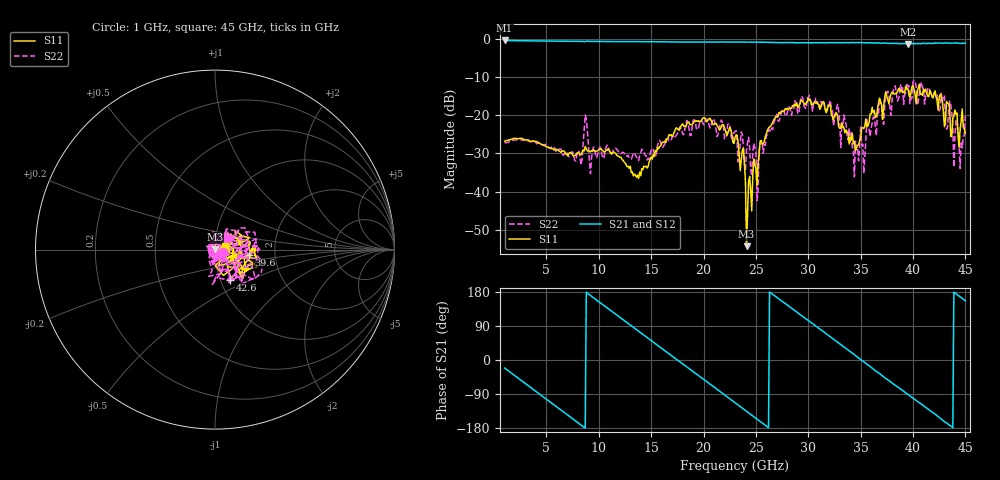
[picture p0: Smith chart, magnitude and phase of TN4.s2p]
!Keysight Technologies,N5247B,MY61255062,A.19.80.06
!Date: Monday, May 18, 2026 13:05:02
!Correction: S11(Cdelta 2-Port  )
!S21(Cdelta 2-Port  )
!S12(Cdelta 2-Port  )
!S22(Cdelta 2-Port  )
!S2P File: Measurements: S11, S21, S12, S22:
# Hz S  dB  R 50
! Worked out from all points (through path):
!   441 points, 1 GHz to 45 GHz, reference 50 ohm
!   highest |S21| = -0.41 dB at 1 GHz (marker M1); lowest = -1.3 dB at 39.5 GHz (marker M2)
!   group delay of S21, straight-line fit = 56.9 ps
!   lowest |S11| = -54.3 dB at 24.1 GHz (marker M3), VSWR 1.00, Z = 50 + j0.188 ohm
!   |S11| at or under -10 dB: start of sweep to end of sweep
!   |S22| runs from -42.4 to -10.8 dB; largest |S21 - S12| = 0.021
!   S11 on the Smith chart (normalised r, x): 1 GHz: 1.09, -0.02; 39.6 GHz: 1.46, -0.09; 42.6 GHz: 1.11, -0.39; 45 GHz: 1.11, +0.05
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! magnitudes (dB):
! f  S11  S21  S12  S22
! 1 GHz  -26.8  -0.4  -0.4  -27.2
! 8.4 GHz  -29.6  -0.6  -0.6  -31.4
! 8.8 GHz  -28.8  -0.6  -0.6  -21.0
! 9.2 GHz  -29.6  -0.7  -0.6  -35.3
! 13.6 GHz  -36.3  -0.7  -0.7  -31.0
! 15.7 GHz  -28.8  -0.8  -0.8  -27.0
! 20 GHz  -20.7  -0.8  -0.8  -22.5
! 23 GHz  -25.9  -0.8  -0.8  -24.3
! 23.8 GHz  -28.7  -0.8  -0.8  -28.2
! 24.1 GHz  -54.3  -0.8  -0.8  -29.1
! 25.2 GHz  -32.5  -0.9  -0.8  -40.1
! 26.7 GHz  -21.2  -0.9  -0.9  -22.0
! 30.4 GHz  -17.2  -1.0  -1.0  -19.1
! 32.8 GHz  -20.3  -1.0  -1.0  -17.1
! 34.6 GHz  -28.5  -1.0  -1.0  -29.1
! 37.7 GHz  -17.0  -1.2  -1.2  -14.8
! 39.5 GHz  -12.9  -1.3  -1.3  -12.5
! 39.6 GHz  -14.5  -1.3  -1.3  -12.2
! 42.6 GHz  -14.5  -1.1  -1.1  -18.2
! 43.6 GHz  -25.6  -1.1  -1.1  -17.2
! 44.6 GHz  -21.5  -1.2  -1.2  -26.9
! 45 GHz  -24.8  -1.1  -1.1  -20.2
